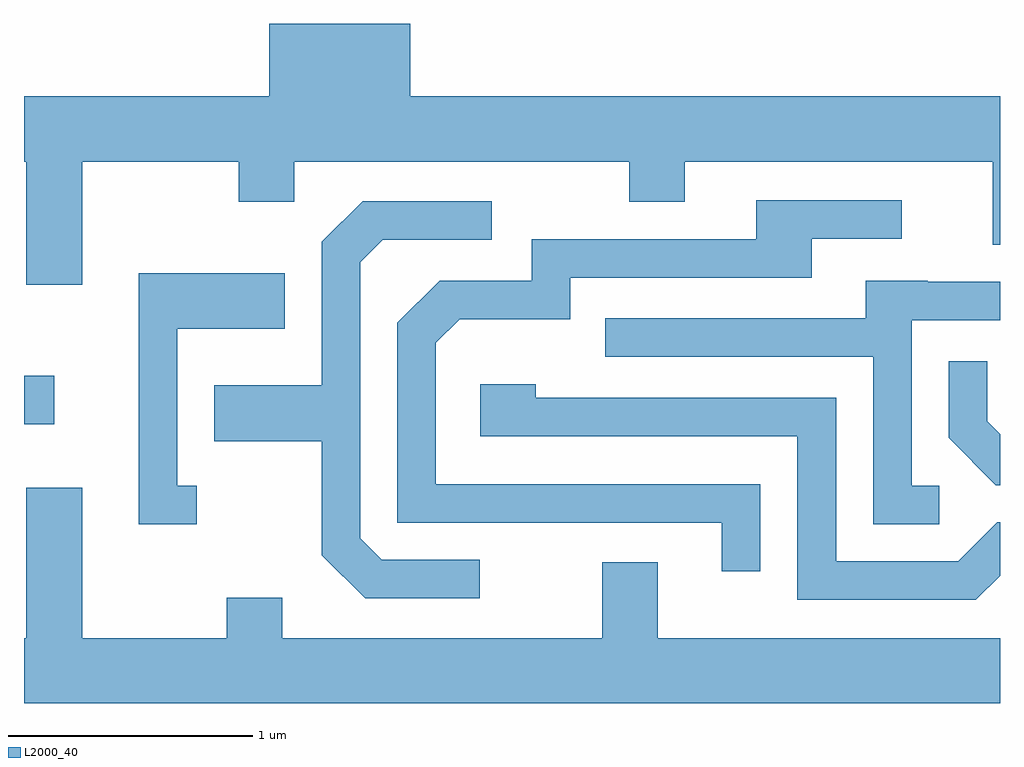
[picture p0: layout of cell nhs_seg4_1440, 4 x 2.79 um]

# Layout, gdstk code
import gdstk
lib = gdstk.Library(unit=1e-6, precision=1e-09)
def R(c, l, rs):  # rectangles x0, y0, x1, y1
    for r in rs: c.add(gdstk.rectangle(r[:2], r[2:], *l))
def P(c, l, *ps):  # polygons
    for p in ps: c.add(gdstk.Polygon(p, *l))
L2000_40 = (2000, 40)

nhs_seg4_1440 = lib.new_cell('nhs_seg4_1440')
R(nhs_seg4_1440, L2000_40, [(227.611,1280.341,227.734,1280.539)])
P(nhs_seg4_1440, L2000_40, [(227.849,1281.416),(228.491,1281.416),(228.491,1281.251),(228.719,1281.251),(228.719,1281.416),(230.091,1281.416),(230.091,1281.251),(230.319,1281.251),(230.319,1281.416),(231.581,1281.416),(231.581,1281.076),(231.611,1281.076),(231.611,1281.684),(229.194,1281.684),(229.194,1281.982),(228.616,1281.982),(228.616,1281.684),(227.611,1281.684),(227.611,1281.416),(227.621,1281.416),(227.621,1280.911),(227.849,1280.911)],
  [(230.629,1280.094),(229.299,1280.094),(229.299,1280.674),(229.397,1280.771),(229.849,1280.771),(229.849,1280.941),(230.839,1280.941),(230.839,1281.101),(231.208,1281.101),(231.208,1281.259),(230.611,1281.259),(230.611,1281.099),(229.691,1281.099),(229.691,1280.929),(229.314,1280.929),(229.141,1280.757),(229.141,1279.936),(230.471,1279.936),(230.471,1279.738),(230.629,1279.738)],
  [(229.478,1279.784),(229.077,1279.784),(228.989,1279.872),(228.989,1281.004),(229.082,1281.096),(229.528,1281.096),(229.528,1281.254),(228.999,1281.254),(228.831,1281.087),(228.831,1280.499),(228.391,1280.499),(228.391,1280.271),(228.831,1280.271),(228.831,1279.804),(229.009,1279.626),(229.478,1279.626)],
  [(228.318,1280.089),(228.239,1280.089),(228.239,1280.731),(228.679,1280.731),(228.679,1280.959),(228.081,1280.959),(228.081,1279.931),(228.318,1279.931)],
  [(231.363,1280.089),(231.249,1280.089),(231.249,1280.766),(231.611,1280.766),(231.611,1280.924),(231.315,1280.924),(231.315,1280.929),(231.061,1280.929),(231.061,1280.774),(229.993,1280.774),(229.993,1280.616),(231.091,1280.616),(231.091,1279.931),(231.363,1279.931)],
  [(231.611,1280.3),(231.559,1280.352),(231.559,1280.598),(231.401,1280.598),(231.401,1280.284),(231.594,1280.091),(231.611,1280.091)],
  [(231.611,1279.72),(231.611,1279.939),(231.599,1279.939),(231.439,1279.779),(230.939,1279.779),(230.939,1280.449),(229.709,1280.449),(229.709,1280.504),(229.481,1280.504),(229.481,1280.291),(230.781,1280.291),(230.781,1279.621),(231.512,1279.621)],
  [(231.611,1279.464),(230.209,1279.464),(230.209,1279.774),(229.981,1279.774),(229.981,1279.464),(228.669,1279.464),(228.669,1279.629),(228.441,1279.629),(228.441,1279.464),(227.849,1279.464),(227.849,1280.079),(227.621,1280.079),(227.621,1279.464),(227.611,1279.464),(227.611,1279.196),(231.611,1279.196)])

lib.write_gds('nhs_seg4_1440.gds')
